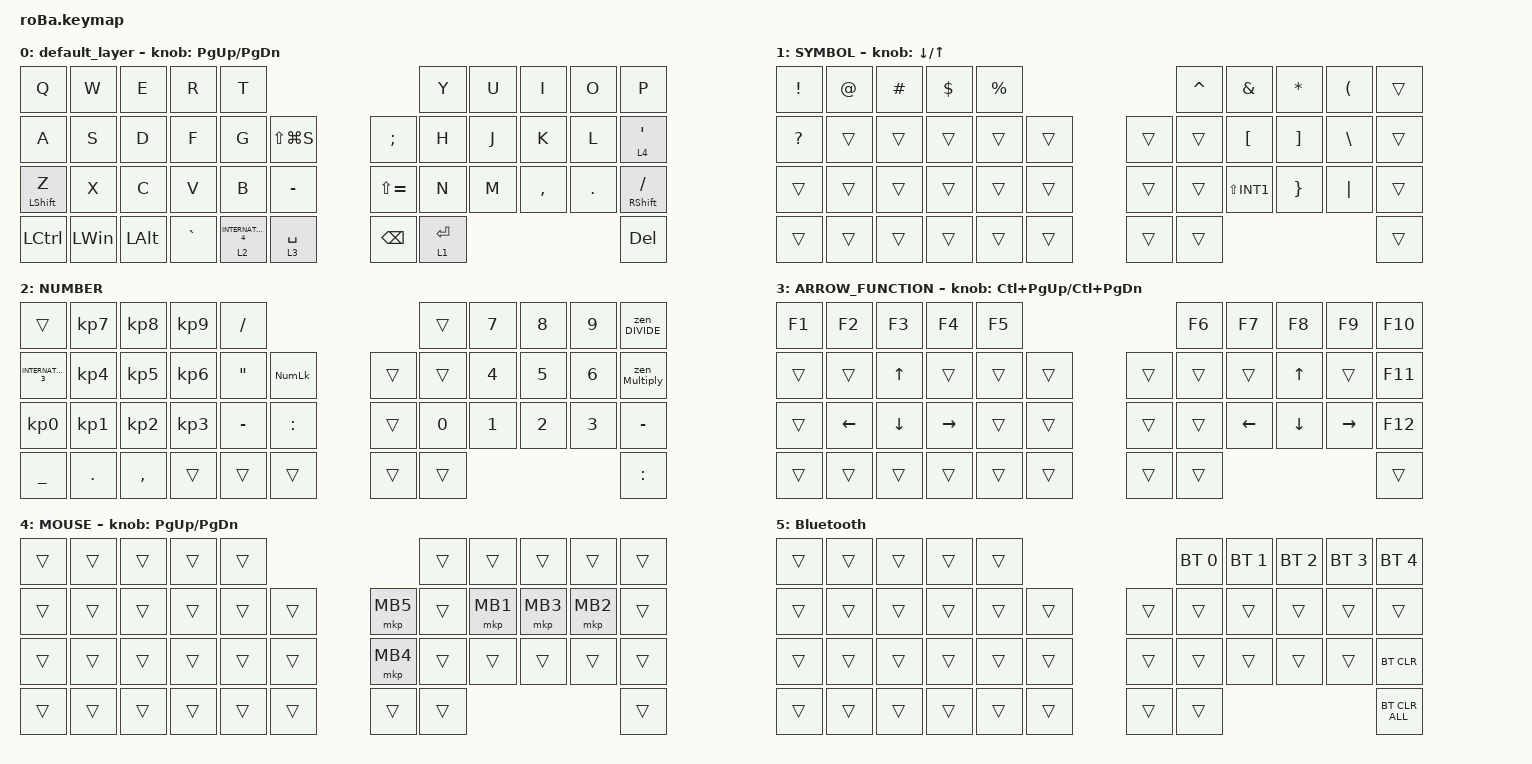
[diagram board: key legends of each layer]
#include <behaviors.dtsi>
#include <dt-bindings/zmk/bt.h>
#include <dt-bindings/zmk/keys.h>
#include <dt-bindings/zmk/pointing.h>

/* エンコーダーの感度を下げて爆走を止める（独立して記述） */

&left_encoder { steps = <40>; };

&right_encoder { steps = <40>; };

&mt {
    flavor = "balanced";
    quick-tap-ms = <0>;
};

&trackball {
    automouse-layer = <4>;
    scroll-layers = <5>;
};

/ {
    combos {
        compatible = "zmk,combos";

        tab {
            bindings = <&kp TAB>;
            key-positions = <11 12>;
        };

        Shift_TAB {
            bindings = <&kp LS(TAB)>;
            key-positions = <12 13>;
        };

        Ctrl_X {
            bindings = <&kp LC(X)>;
            key-positions = <7 8>;
        };

        Ctrl_C {
            bindings = <&kp LC(C)>;
            key-positions = <19 20>;
        };

        Ctrl_V {
            bindings = <&kp LC(V)>;
            key-positions = <31 32>;
        };

        PASS {
            bindings = <&PASS_WARD>;
            key-positions = <20 21>;
        };

        layer5 {
            bindings = <&sl 5>;
            key-positions = <26 27>;
        };

        Ctrl_Alt_Delete {
            bindings = <&kp LA(LC(DEL))>;
            key-positions = <8 9>;
        };
    };

    macros {
        to_layer_0: to_layer_0 {
            compatible = "zmk,behavior-macro-one-param";
            #binding-cells = <1>;
            bindings = <&to 0 &macro_param_1to1 &kp MACRO_PLACEHOLDER>;
            label = "TO_LAYER_0";
        };

        zen_Multiply: zen_plus {
            compatible = "zmk,behavior-macro";
            #binding-cells = <0>;
            bindings = <&kp K &kp A &kp K &kp E &kp R &kp U &kp SPACE &kp ENTER>;
            label = "ZEN_PLUS";
            tap-ms = <0>;
            wait-ms = <0>;
        };

        zen_DIVIDE: new_DIVIDE {
            compatible = "zmk,behavior-macro";
            #binding-cells = <0>;
            bindings = <&kp W &kp A &kp R &kp U &kp SPACE &kp ENTER>;
            label = "NEW_DIVIDE";
        };

        PASS_WARD: PASS_WARD {
            compatible = "zmk,behavior-macro";
            #binding-cells = <0>;
            bindings = <&kp I &kp W &kp A &kp T &kp A>;
            label = "PASS_WARD";
        };
    };

    behaviors {
        lt_to_layer_0: lt_to_layer_0 {
            compatible = "zmk,behavior-hold-tap";
            label = "LAYER_TAP_TO_0";
            bindings = <&mo>, <&to_layer_0>;

            #binding-cells = <2>;
            tapping-term-ms = <200>;
        };
    };

    keymap {
        compatible = "zmk,keymap";

        default_layer {
            bindings = <
&kp Q             &kp W         &kp E         &kp R      &kp T                                                                        &kp Y                   &kp U  &kp I      &kp O    &kp P
&kp A             &kp S         &kp D         &kp F      &kp G                             &kp LS(LG(S))               &kp SEMICOLON  &kp H                   &kp J  &kp K      &kp L    &lt_to_layer_0 4 SQT
&mt LEFT_SHIFT Z  &kp X         &kp C         &kp V      &kp B                             &kp MINUS                   &kp LS(EQUAL)  &kp N                   &kp M  &kp COMMA  &kp DOT  &mt RIGHT_SHIFT SLASH
&kp LEFT_CONTROL  &kp LEFT_WIN  &kp LEFT_ALT  &kp GRAVE  &lt_to_layer_0 2 INTERNATIONAL_4  &lt_to_layer_0 3 SPACE      &kp BACKSPACE  &lt_to_layer_0 1 ENTER                             &kp DEL
            >;

            sensor-bindings = <&inc_dec_kp PG_UP PG_DN>;
        };

        SYMBOL {
            bindings = <
&kp EXCLAMATION  &kp AT  &kp HASH  &kp DOLLAR  &kp PERCENT                      &kp CARET  &kp AMPERSAND     &kp ASTERISK       &kp LEFT_PARENTHESIS  &trans
&kp QUESTION     &trans  &trans    &trans      &trans       &trans      &trans  &trans     &kp LEFT_BRACKET  &kp RIGHT_BRACKET  &kp BACKSLASH         &trans
&trans           &trans  &trans    &trans      &trans       &trans      &trans  &trans     &kp LS(INT1)      &kp RIGHT_BRACE    &kp PIPE              &trans
&trans           &trans  &trans    &trans      &trans       &trans      &trans  &trans                                                                &trans
            >;

            sensor-bindings = <&inc_dec_kp DOWN UP>;
        };

        NUMBER {
            bindings = <
&trans               &kp KP_NUMBER_7  &kp KP_NUMBER_8  &kp KP_NUMBER_9  &kp SLASH                                      &trans  &kp N7  &kp N8  &kp N9  &zen_DIVIDE
&kp INTERNATIONAL_3  &kp KP_NUMBER_4  &kp KP_NUMBER_5  &kp KP_NUMBER_6  &kp DOUBLE_QUOTES  &kp KP_NUMLOCK      &trans  &trans  &kp N4  &kp N5  &kp N6  &zen_Multiply
&kp KP_NUMBER_0      &kp KP_NUMBER_1  &kp KP_NUMBER_2  &kp KP_NUMBER_3  &kp MINUS          &kp COLON           &trans  &kp N0  &kp N1  &kp N2  &kp N3  &kp MINUS
&kp UNDERSCORE       &kp PERIOD       &kp COMMA        &trans           &trans             &trans              &trans  &trans                          &kp COLON
            >;
        };

        ARROW_FUNCTION {
            bindings = <
&kp F1  &kp F2    &kp F3    &kp F4     &kp F5                      &kp F6  &kp F7    &kp F8    &kp F9     &kp F10
&trans  &trans    &kp UP    &trans     &trans  &trans      &trans  &trans  &trans    &kp UP    &trans     &kp F11
&trans  &kp LEFT  &kp DOWN  &kp RIGHT  &trans  &trans      &trans  &trans  &kp LEFT  &kp DOWN  &kp RIGHT  &kp F12
&trans  &trans    &trans    &trans     &trans  &trans      &trans  &trans                                 &trans
            >;

            sensor-bindings = <&inc_dec_kp LC(PG_UP) LC(PG_DN)>;
        };

        MOUSE {
            bindings = <
&trans  &trans  &trans  &trans  &trans                        &trans  &trans    &trans    &trans    &trans
&trans  &trans  &trans  &trans  &trans  &trans      &mkp MB5  &trans  &mkp MB1  &mkp MB3  &mkp MB2  &trans
&trans  &trans  &trans  &trans  &trans  &trans      &mkp MB4  &trans  &trans    &trans    &trans    &trans
&trans  &trans  &trans  &trans  &trans  &trans      &trans    &trans                                &trans
            >;

            sensor-bindings = <&inc_dec_kp PG_UP PG_DN>;
        };

        Bluetooth {
            bindings = <
&trans  &trans  &trans  &trans  &trans                      &bt BT_SEL 0  &bt BT_SEL 1  &bt BT_SEL 2  &bt BT_SEL 3  &bt BT_SEL 4
&trans  &trans  &trans  &trans  &trans  &trans      &trans  &trans        &trans        &trans        &trans        &trans
&trans  &trans  &trans  &trans  &trans  &trans      &trans  &trans        &trans        &trans        &trans        &bt BT_CLR
&trans  &trans  &trans  &trans  &trans  &trans      &trans  &trans                                                  &bt BT_CLR_ALL
            >;
        };
    };
};
